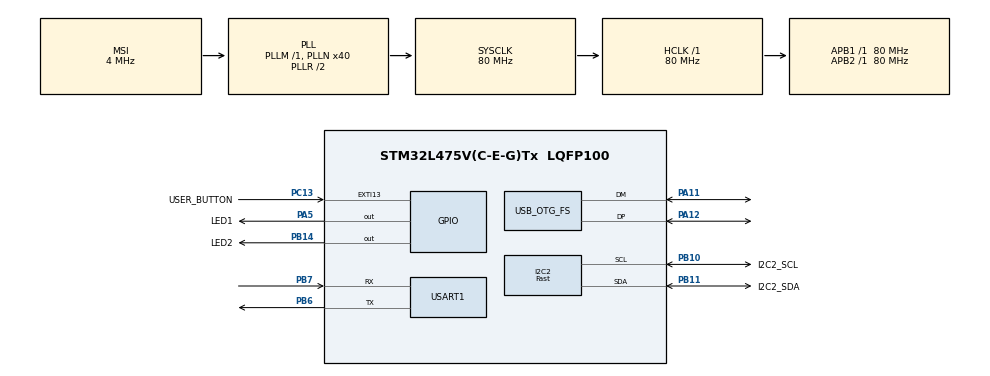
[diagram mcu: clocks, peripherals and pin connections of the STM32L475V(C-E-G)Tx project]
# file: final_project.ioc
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I2C2.I2C_Speed_Mode=I2C_Fast
I2C2.Timing=0x00702991
Mcu.Family=STM32L4
Mcu.Name=STM32L475V(C-E-G)Tx
Mcu.Package=LQFP100
NVIC.EXTI15_10_IRQn=true\:0\:0\:false\:false\:true\:true\:true\:true
NVIC.OTG_FS_IRQn=true\:0\:0\:false\:false\:true\:false\:true\:true
NVIC.PriorityGroup=NVIC_PRIORITYGROUP_4
PA11.Mode=Device_Only
PA11.Signal=USB_OTG_FS_DM
PA12.Mode=Device_Only
PA12.Signal=USB_OTG_FS_DP
PA13\ (JTMS-SWDIO).Mode=Serial_Wire
PA13\ (JTMS-SWDIO).Signal=SYS_JTMS-SWDIO
PA14\ (JTCK-SWCLK).Mode=Serial_Wire
PA14\ (JTCK-SWCLK).Signal=SYS_JTCK-SWCLK
PA5.GPIO_Label=LED1
PA5.Signal=GPIO_Output
PB10.GPIO_Label=I2C2_SCL
PB10.GPIO_Pu=GPIO_PULLUP
PB10.Mode=I2C
PB10.Signal=I2C2_SCL
PB11.GPIO_Label=I2C2_SDA
PB11.GPIO_Pu=GPIO_PULLUP
PB11.Mode=I2C
PB11.Signal=I2C2_SDA
PB14.GPIO_Label=LED2
PB14.Signal=GPIO_Output
PB6.Mode=Asynchronous
PB6.Signal=USART1_TX
PB7.Mode=Asynchronous
PB7.Signal=USART1_RX
PC13.GPIO_Label=USER_BUTTON
PC13.Signal=GPXTI13
PH0-OSC_IN\ (PH0).Mode=HSE-External-Oscillator
PH0-OSC_IN\ (PH0).Signal=RCC_OSC_IN
PH1-OSC_OUT\ (PH1).Mode=HSE-External-Oscillator
PH1-OSC_OUT\ (PH1).Signal=RCC_OSC_OUT
ProjectManager.HeapSize=0x200
ProjectManager.StackSize=0x400
ProjectManager.TargetToolchain=STM32CubeIDE
RCC.ADCFreq_Value=48000000
RCC.AHBFreq_Value=80000000
RCC.APB1Freq_Value=80000000
RCC.APB1TimFreq_Value=80000000
RCC.APB2Freq_Value=80000000
RCC.APB2TimFreq_Value=80000000
RCC.CortexFreq_Value=80000000
RCC.HCLKFreq_Value=80000000
RCC.HSE_VALUE=8000000
RCC.HSI_VALUE=16000000
RCC.LSE_VALUE=32768
RCC.MSI_VALUE=4000000
RCC.PLLN=40
RCC.PLLSAI1N=24
RCC.SYSCLKFreq_VALUE=80000000
RCC.SYSCLKSource=RCC_SYSCLKSOURCE_PLLCLK
RCC.USBFreq_Value=48000000
RCC.VCOOutputFreq_Value=160000000
USART1.VirtualMode-Asynchronous=VM_ASYNC
USB_DEVICE.CLASS_NAME_FS=HID
USB_DEVICE.PRODUCT_STRING_HID_FS=STM32 Hello World
USB_DEVICE.VirtualMode=Hid
USB_DEVICE.VirtualModeFS=Hid_FS
USB_OTG_FS.VirtualMode=Device_Only
VP_USB_DEVICE_VS_USB_DEVICE_HID_FS.Mode=HID_FS
board=B-L475E-IOT01A2

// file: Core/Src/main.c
/* USER CODE BEGIN Header */
/**
  ******************************************************************************
  * @file           : main.c
  * @brief          : Main program body
  ******************************************************************************
  * @attention
  *
  * Copyright (c) 2023 STMicroelectronics.
  * All rights reserved.
  *
  * This software is licensed under terms that can be found in the LICENSE file
  * in the root directory of this software component.
  * If no LICENSE file comes with this software, it is provided AS-IS.
  *
  ******************************************************************************
  */
/* USER CODE END Header */
#include "main.h"
#include "usb_device.h"

/* USER CODE BEGIN Includes */
#include "lsm6dsl_reg.h"
#include "helper_functions.h"
#include <string.h>
#include "usbd_hid.h"

/* USER CODE END Includes */

/* USER CODE BEGIN PTD */
typedef struct
{
	uint8_t button;
	int8_t mouse_x;
	int8_t mouse_y;
	int8_t mouse_z;
} mouseID;
/* USER CODE END PTD */

/* USER CODE BEGIN PD */
#define ACC_THRESHOLD 35
#define VEL_THRESHOLD 200
#define AVG_COUNT 20
#define STOP_THRESHOLD 70
#define COOL_DOWN 15
#define VEL2MOUSE 0.01
/* USER CODE END PD */

/* USER CODE BEGIN PM */
#define MAG_SQ2(a,b) ((a)*(a) + (b)*(b))
/* USER CODE END PM */

I2C_HandleTypeDef hi2c2;

UART_HandleTypeDef huart1;

/* USER CODE BEGIN PV */
volatile int btn_flag = 0;
extern USBD_HandleTypeDef hUsbDeviceFS;
stmdev_ctx_t dev_ctx;
int16_t data_raw_acceleration[3];
float acceleration_mg[3];
float acceleration_average_mg[3];
float acceleration_deviation_mg[3];
float velocity[2];
float total_move[2];
int16_t is_moving = 0;
int16_t cooldown = 0;

mouseID mouseid;
/* USER CODE END PV */

void SystemClock_Config(void);
static void MX_GPIO_Init(void);
static void MX_USART1_UART_Init(void);
static void MX_I2C2_Init(void);
/* USER CODE BEGIN PFP */
int32_t platform_write(void *handle, uint8_t reg, uint8_t *bufp, uint16_t len);
int32_t platform_read(void *handle, uint8_t reg, uint8_t *bufp, uint16_t len);

int32_t read_acceleration();

/* USER CODE END PFP */

int main(void)
{

  /* MCU Configuration--------------------------------------------------------*/

  /* Reset of all peripherals, Initializes the Flash interface and the Systick. */
  HAL_Init();

  /* Configure the system clock */
  SystemClock_Config();

  /* Initialize all configured peripherals */
  MX_GPIO_Init();
  MX_USART1_UART_Init();
  MX_I2C2_Init();
  MX_USB_DEVICE_Init();
  /* USER CODE BEGIN 2 */

  /* Initialize lsm6dsl driver */
  dev_ctx.write_reg = platform_write;
  dev_ctx.read_reg = platform_read;
  dev_ctx.handle = &hi2c2;
  HAL_Delay(150); //BOOT
  uint8_t whoAmI = 0;
  printf("RESET\r\n");
  while  (lsm6dsl_device_id_get(&dev_ctx, &whoAmI));

  uint8_t test = lsm6dsl_device_id_get(&dev_ctx, &whoAmI);
  if ( whoAmI != LSM6DSL_ID ) {
	  printf("Did not recognise gyro, %i != %i; %i\r\n", whoAmI, LSM6DSL_ID, test);
	  while(1);
  } else {
	  printf("OK\r\n");
  }

  /* Restore default configuration */
  lsm6dsl_reset_set(&dev_ctx, PROPERTY_ENABLE);

  uint8_t rst;
  do {
    lsm6dsl_reset_get(&dev_ctx, &rst);
  } while (rst);

  /* Enable Block Data Update */
  lsm6dsl_block_data_update_set(&dev_ctx, PROPERTY_ENABLE);
/* Set Output Data Rate */
  lsm6dsl_xl_data_rate_set(&dev_ctx, LSM6DSL_XL_ODR_104Hz);
  lsm6dsl_gy_data_rate_set(&dev_ctx, LSM6DSL_GY_ODR_OFF);
/* Set full scale */
  lsm6dsl_xl_full_scale_set(&dev_ctx, LSM6DSL_2g);

  acceleration_average_mg[0] = 0;
  acceleration_average_mg[1] = -16;
  acceleration_average_mg[2] = 1025; // after expertimenting a bit, just starting value
  printf("Calculating resting acceleration, do not move...\r\n");
  calibrate_gy();
  printf("Resting acceleration: %i\t%i\t%i\r\n", (int)acceleration_average_mg[0], (int)acceleration_average_mg[1], (int)acceleration_average_mg[2]);
  mouseid.mouse_x = 0;
  mouseid.mouse_y = 0;
  mouseid.mouse_z = 0;
  /* USER CODE END 2 */

  /* Infinite loop */
  /* USER CODE BEGIN WHILE */
  while (1)
  {
	  // MOVE MOUSE: (smoothly)

	  if(btn_flag == 1)
	  {
		  printf("mouseid: button %i x %i y %i z %i\r\n", mouseid.button, mouseid.mouse_x, mouseid.mouse_y, mouseid.mouse_z);
		  btn_flag = 0;
		  mouseid.button = 1; // left click = 1
		  if (USBD_HID_SendReport(&hUsbDeviceFS, &mouseid, sizeof(mouseid))) {
			  printf("Error\r\n");
		  }
		  HAL_Delay(20);
		  mouseid.button = 0; // left click = 1
		  USBD_HID_SendReport(&hUsbDeviceFS, &mouseid, sizeof(mouseid));
	  }

	  if (!read_acceleration()) {
		  continue;
	  }
	  for (int i = 0; i < 3; ++i) {
		// CALCULATE ACCELERATION DEVIATION
		if (!is_moving) {
			acceleration_average_mg[i] = ((AVG_COUNT - 1) * acceleration_average_mg[i] + acceleration_mg[i]) / AVG_COUNT;
		}

		acceleration_deviation_mg[i] = acceleration_mg[i] - acceleration_average_mg[i];
	  }
	  /*printf("Acceleration [mg]:%i\t%i\t%i\t(%i\t%i\t%i)\r\n",
			  (int)acceleration_deviation_mg[0], (int)acceleration_deviation_mg[1], (int)acceleration_deviation_mg[2],
			  (int)acceleration_mg[0], (int)acceleration_mg[1], (int)acceleration_mg[2]);*/
	  if (is_moving) {
		  // MOVING LOOP
		  printf("Velocity [mg * frames]: %i\t%i\r\n", (int)velocity[0], (int)velocity[1]);
		  mouseid.mouse_x = (int) (-VEL2MOUSE * velocity[1]);
		  mouseid.mouse_y = (int) (-VEL2MOUSE * velocity[0]);
		  mouseid.button = 0;
		  USBD_HID_SendReport(&hUsbDeviceFS, &mouseid, sizeof(mouseid));
		  velocity[0] += acceleration_deviation_mg[0];
		  velocity[1] += acceleration_deviation_mg[1];
		  ++is_moving;
		  total_move[0] += velocity[0];
		  total_move[1] += velocity[1];
		  if (is_moving >= 3
				  && MAG_SQ2(velocity[0], velocity[1]) < VEL_THRESHOLD * VEL_THRESHOLD) {
			  is_moving = 0;
			  printf("STOP MOVING\r\n");
			  printf("TOTAL MOVE: %i\t%i\r\n", (int)total_move[0], (int)total_move[1]);
			  cooldown = 1;
		  }
		  if (is_moving > STOP_THRESHOLD) {
			  printf("BADBADBAD---");
			  is_moving = 0;
			  printf("STOP MOVING\r\n");
			  printf("TOTAL MOVE: %i\t%i\r\n", (int)total_move[0], (int)total_move[1]);
		  }
	  } else if (cooldown) {
		  ++cooldown;
		  if (cooldown > COOL_DOWN) {
			  cooldown = 0;
		  }
	  } else {
		  if (MAG_SQ2(acceleration_deviation_mg[0],acceleration_deviation_mg[1]) > ACC_THRESHOLD * ACC_THRESHOLD) {
			  // START MOVING LOOP
			  printf("START MOVING\r\n");
			  total_move[0] = 0;
			  total_move[1] = 0;
			  is_moving = 1;
			  velocity[0] = acceleration_deviation_mg[0];
			  velocity[1] = acceleration_deviation_mg[1];
		  }
	  }
    /* USER CODE END WHILE */

  }
}

void SystemClock_Config(void)
{
  RCC_OscInitTypeDef RCC_OscInitStruct = {0};
  RCC_ClkInitTypeDef RCC_ClkInitStruct = {0};

  /** Configure the main internal regulator output voltage
  */
  if (HAL_PWREx_ControlVoltageScaling(PWR_REGULATOR_VOLTAGE_SCALE1) != HAL_OK)
  {
    Error_Handler();
  }

  /** Initializes the RCC Oscillators according to the specified parameters
  * in the RCC_OscInitTypeDef structure.
  */
  RCC_OscInitStruct.OscillatorType = RCC_OSCILLATORTYPE_MSI;
  RCC_OscInitStruct.MSIState = RCC_MSI_ON;
  RCC_OscInitStruct.MSICalibrationValue = 0;
  RCC_OscInitStruct.MSIClockRange = RCC_MSIRANGE_6;
  RCC_OscInitStruct.PLL.PLLState = RCC_PLL_ON;
  RCC_OscInitStruct.PLL.PLLSource = RCC_PLLSOURCE_MSI;
  RCC_OscInitStruct.PLL.PLLM = 1;
  RCC_OscInitStruct.PLL.PLLN = 40;
  RCC_OscInitStruct.PLL.PLLP = RCC_PLLP_DIV7;
  RCC_OscInitStruct.PLL.PLLQ = RCC_PLLQ_DIV2;
  RCC_OscInitStruct.PLL.PLLR = RCC_PLLR_DIV2;
  if (HAL_RCC_OscConfig(&RCC_OscInitStruct) != HAL_OK)
  {
    Error_Handler();
  }

  /** Initializes the CPU, AHB and APB buses clocks
  */
  RCC_ClkInitStruct.ClockType = RCC_CLOCKTYPE_HCLK|RCC_CLOCKTYPE_SYSCLK
                              |RCC_CLOCKTYPE_PCLK1|RCC_CLOCKTYPE_PCLK2;
  RCC_ClkInitStruct.SYSCLKSource = RCC_SYSCLKSOURCE_PLLCLK;
  RCC_ClkInitStruct.AHBCLKDivider = RCC_SYSCLK_DIV1;
  RCC_ClkInitStruct.APB1CLKDivider = RCC_HCLK_DIV1;
  RCC_ClkInitStruct.APB2CLKDivider = RCC_HCLK_DIV1;

  if (HAL_RCC_ClockConfig(&RCC_ClkInitStruct, FLASH_LATENCY_4) != HAL_OK)
  {
    Error_Handler();
  }
}

static void MX_I2C2_Init(void)
{

  hi2c2.Instance = I2C2;
  hi2c2.Init.Timing = 0x00702991;
  hi2c2.Init.OwnAddress1 = 0;
  hi2c2.Init.AddressingMode = I2C_ADDRESSINGMODE_7BIT;
  hi2c2.Init.DualAddressMode = I2C_DUALADDRESS_DISABLE;
  hi2c2.Init.OwnAddress2 = 0;
  hi2c2.Init.OwnAddress2Masks = I2C_OA2_NOMASK;
  hi2c2.Init.GeneralCallMode = I2C_GENERALCALL_DISABLE;
  hi2c2.Init.NoStretchMode = I2C_NOSTRETCH_DISABLE;
  if (HAL_I2C_Init(&hi2c2) != HAL_OK)
  {
    Error_Handler();
  }

  /** Configure Analogue filter
  */
  if (HAL_I2CEx_ConfigAnalogFilter(&hi2c2, I2C_ANALOGFILTER_ENABLE) != HAL_OK)
  {
    Error_Handler();
  }

  /** Configure Digital filter
  */
  if (HAL_I2CEx_ConfigDigitalFilter(&hi2c2, 0) != HAL_OK)
  {
    Error_Handler();
  }

}

static void MX_USART1_UART_Init(void)
{

  huart1.Instance = USART1;
  huart1.Init.BaudRate = 115200;
  huart1.Init.WordLength = UART_WORDLENGTH_8B;
  huart1.Init.StopBits = UART_STOPBITS_1;
  huart1.Init.Parity = UART_PARITY_NONE;
  huart1.Init.Mode = UART_MODE_TX_RX;
  huart1.Init.HwFlowCtl = UART_HWCONTROL_NONE;
  huart1.Init.OverSampling = UART_OVERSAMPLING_16;
  huart1.Init.OneBitSampling = UART_ONE_BIT_SAMPLE_DISABLE;
  huart1.AdvancedInit.AdvFeatureInit = UART_ADVFEATURE_NO_INIT;
  if (HAL_UART_Init(&huart1) != HAL_OK)
  {
    Error_Handler();
  }

}

static void MX_GPIO_Init(void)
{
  GPIO_InitTypeDef GPIO_InitStruct = {0};

  /* GPIO Ports Clock Enable */
  __HAL_RCC_GPIOC_CLK_ENABLE();
  __HAL_RCC_GPIOH_CLK_ENABLE();
  __HAL_RCC_GPIOA_CLK_ENABLE();
  __HAL_RCC_GPIOB_CLK_ENABLE();

  /*Configure GPIO pin Output Level */
  HAL_GPIO_WritePin(LED1_GPIO_Port, LED1_Pin, GPIO_PIN_RESET);

  /*Configure GPIO pin Output Level */
  HAL_GPIO_WritePin(LED2_GPIO_Port, LED2_Pin, GPIO_PIN_RESET);

  /*Configure GPIO pin : USER_BUTTON_Pin */
  GPIO_InitStruct.Pin = USER_BUTTON_Pin;
  GPIO_InitStruct.Mode = GPIO_MODE_IT_RISING;
  GPIO_InitStruct.Pull = GPIO_NOPULL;
  HAL_GPIO_Init(USER_BUTTON_GPIO_Port, &GPIO_InitStruct);

  /*Configure GPIO pin : LED1_Pin */
  GPIO_InitStruct.Pin = LED1_Pin;
  GPIO_InitStruct.Mode = GPIO_MODE_OUTPUT_PP;
  GPIO_InitStruct.Pull = GPIO_NOPULL;
  GPIO_InitStruct.Speed = GPIO_SPEED_FREQ_LOW;
  HAL_GPIO_Init(LED1_GPIO_Port, &GPIO_InitStruct);

  /*Configure GPIO pin : LED2_Pin */
  GPIO_InitStruct.Pin = LED2_Pin;
  GPIO_InitStruct.Mode = GPIO_MODE_OUTPUT_PP;
  GPIO_InitStruct.Pull = GPIO_NOPULL;
  GPIO_InitStruct.Speed = GPIO_SPEED_FREQ_LOW;
  HAL_GPIO_Init(LED2_GPIO_Port, &GPIO_InitStruct);

  /* EXTI interrupt init*/
  HAL_NVIC_SetPriority(EXTI15_10_IRQn, 0, 0);
  HAL_NVIC_EnableIRQ(EXTI15_10_IRQn);

}

/* USER CODE BEGIN 4 */
void HAL_GPIO_EXTI_Callback(uint16_t GPIO_Pin) {
	if (GPIO_Pin == USER_BUTTON_Pin) {
		printf("Button pressed \r\n");
		HAL_GPIO_TogglePin(LED2_GPIO_Port, LED2_Pin);
		//HAL_GPIO_TogglePin(LED1_GPIO_Port, LED1_Pin);
		btn_flag = 1;
	}
}

int32_t read_acceleration() {
	// READ ACCELERATION
	lsm6dsl_reg_t reg;
	lsm6dsl_status_reg_get(&dev_ctx, &reg.status_reg);
	// ACCELERATION NOT READY
	if (!reg.status_reg.xlda) {
		return 0;
	}
	/* Read magnetic field data */
	memset(data_raw_acceleration, 0x00, 3 * sizeof(int16_t));
	lsm6dsl_acceleration_raw_get(&dev_ctx, data_raw_acceleration);
	acceleration_mg[0] = lsm6dsl_from_fs2g_to_mg(
				   data_raw_acceleration[0]);
	acceleration_mg[1] = lsm6dsl_from_fs2g_to_mg(
				   data_raw_acceleration[1]);
	acceleration_mg[2] = lsm6dsl_from_fs2g_to_mg(
				   data_raw_acceleration[2]);
	return 1;
}
/*
 * Write a register from the LSM6DSL sensor
 * @brief  Read generic device register (platform dependent)
 *
 * @param  handle    customizable argument. In this examples is used in
 *                   order to select the correct sensor bus handler.
 * @param  reg       register to read
 * @param  bufp      pointer to buffer that store the data read
 * @param  len       number of consecutive register to read
 */
int32_t platform_write(void *handle, uint8_t reg, uint8_t *bufp, uint16_t len){
    HAL_I2C_Mem_Write(handle, LSM6DSL_I2C_ADD_L, reg, I2C_MEMADD_SIZE_8BIT, bufp, len,
                     1000);
    return 0;
}

/*
 * Read a register from the LSM6DSL sensor
 * @brief  Read generic device register (platform dependent)
 *
 * @param  handle    customizable argument. In this examples is used in
 *                   order to select the correct sensor bus handler.
 * @param  reg       register to read
 * @param  bufp      pointer to buffer that store the data read
 * @param  len       number of consecutive register to read
 */
int32_t platform_read(void *handle, uint8_t reg, uint8_t *bufp, uint16_t len){
    int32_t ret = HAL_I2C_Mem_Read(&hi2c2, LSM6DSL_I2C_ADD_L, reg, I2C_MEMADD_SIZE_8BIT, bufp, len,
                     1000);
    if (ret != 0) {
    	printf("ERROR from platform_read: %i %li\r\n", ret, HAL_I2C_GetError(&hi2c2));

    }
    return ret;
}

void calibrate_gy() {
	for (int i = 0; i < AVG_COUNT; ++i) {
	  while (!read_acceleration());
	  acceleration_average_mg[i] = ((AVG_COUNT - 1) * acceleration_average_mg[i] + acceleration_mg[i]) / AVG_COUNT;
	}
}
/* USER CODE END 4 */

void Error_Handler(void)
{
  __disable_irq();
  while (1)
  {
  }
}
